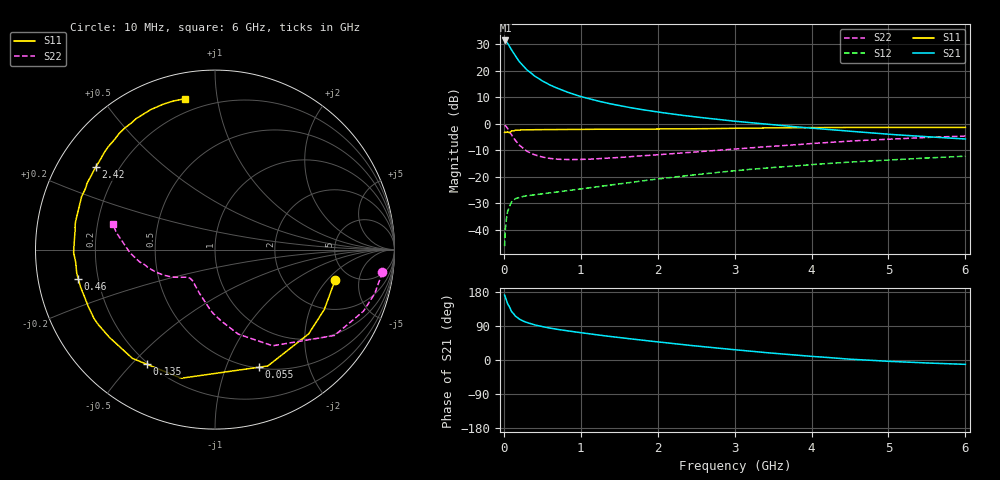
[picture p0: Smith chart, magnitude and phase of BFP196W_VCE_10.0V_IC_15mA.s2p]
! Infineon Technologies  Discrete & RF Semiconductors
! BFP196W
! VCE = 10.0V,  IC =  15mA
! Common Emitter S-Parameters:  Jan 2016
# GHz  S  MA  R  50
!  f  S11  S21  S12  S22
! GHz  MAG  ANG  MAG  ANG  MAG  ANG  MAG  ANG
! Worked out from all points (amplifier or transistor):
!   210 points, 10 MHz to 6 GHz, reference 50 ohm
!   highest |S21| = 31.5 dB at 20 MHz (marker M1)
!   |S21| within 3 dB of that: start of sweep to 88.03 MHz
!   unconditionally stable (mu >= 1): 1.082 GHz to 3.386 GHz
!   at 185 MHz: K = 0.27, MSG = 26.1 dB, |S12| = -27.9 dB
!   at 1.52 GHz: K = 1.12, MAG = 12.6 dB, |S12| = -22.6 dB
!   at 6 GHz: K = 0.92, MSG = 3.2 dB, |S12| = -12.2 dB
!   S11 on the Smith chart (normalised r, x): 10 MHz: 3.81, -2.45; 55 MHz: 0.51, -1.31; 135 MHz: 0.19, -0.55; 460 MHz: 0.13, -0.10; 2.42 GHz: 0.12, +0.31; 6 GHz: 0.13, +0.81
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0.01  0.6904 -14.1  37.67 171.3  0.0049 75.4  0.9413 -7.7
0.02  0.6944 -28.7  37.69 166.1  0.0103 75.7  0.9233 -15.3
0.03  0.7019 -42.0  36.49 159.9  0.0147 70.0  0.8958 -22.5
0.05  0.712 -65.6  33.39 148.0  0.0224 60.0  0.8197 -35.7
0.055  0.6999 -69.4  32.41 146.5  0.0234 57.7  0.7954 -37.5
0.1  0.7409 -104.7  25.02 127.9  0.0334 44.0  0.6245 -59.1
0.135  0.7429 -120.6  20.8 120.0  0.037 37.8  0.5249 -69.1
0.15  0.761 -127.2  19.14 115.6  0.0387 35.5  0.4885 -74.6
0.2  0.765 -140.3  15.08 108.1  0.0409 31.2  0.3994 -85.0
0.24  0.7732 -147.4  12.98 104.0  0.0423 29.7  0.357 -91.4
0.3  0.7739 -155.6  10.49 98.7  0.044 28.5  0.3038 -99.3
0.4  0.7776 -164.6  8.015 92.6  0.0458 28.4  0.2607 -109.0
0.46  0.7791 -168.0  7.092 90.0  0.047 29.3  0.2457 -113.0
0.7  0.7879 -178.8  4.691 80.8  0.0518 33.4  0.2148 -124.7
1.02  0.7865 172.5  3.229 71.6  0.0596 38.9  0.2135 -132.6
1.4  0.7918 164.1  2.372 61.6  0.0706 43.8  0.2274 -137.4
2.02  0.8028 152.3  1.662 47.4  0.0917 48.1  0.2627 -144.1
2.42  0.8082 145.4  1.393 38.6  0.1068 48.6  0.2905 -148.6
3.1  0.8277 134.2  1.09 25.3  0.1343 47.1  0.3445 -158.0
4.1  0.852 119.8  0.811 8.3  0.174 42.1  0.435 -172.3
5.1  0.8596 108.8  0.623 -4.3  0.2116 35.4  0.523 174.4
6  0.8572 101.4  0.519 -11.5  0.2457 29.5  0.5887 165.7
